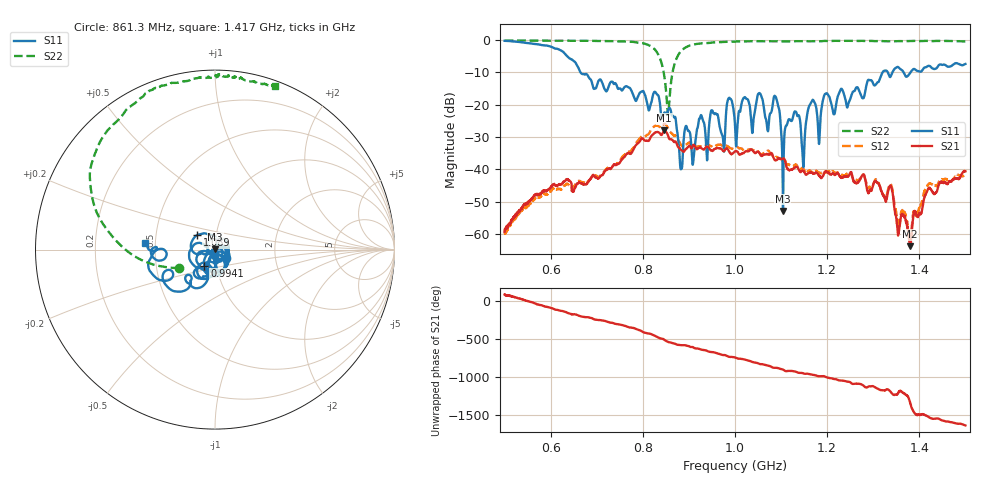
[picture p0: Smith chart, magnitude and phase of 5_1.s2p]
!Agilent Technologies,E8364B,US42250235,A.06.04.32
!Agilent E8364B: A.06.04.32
!Date: Thursday, October 01, 2020 14:24:02
!Correction: S11(Full 2 Port(1,2)) S21(Full 2 Port(1,2)) S12(Full 2 Port(1,2)) S22(Full 2 Port(1,2))
!S2P File: Measurements: S11, S21, S12, S22:
# Hz S  dB  R 50
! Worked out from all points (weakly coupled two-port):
!   2650 points, 500 MHz to 1.5 GHz, reference 50 ohm
!   highest |S21| = -27.98 dB at 846.5 MHz (marker M1); lowest = -63.8 dB at 1.379 GHz (marker M2)
!   lowest |S11| = -52.9 dB at 1.104 GHz (marker M3), VSWR 1.00, Z = 50 + j0.223 ohm
!   |S11| at or under -10 dB: 664.7 MHz to 1.32 GHz (655.6 MHz wide, 66.1 % of centre); 1.332 GHz to 1.342 GHz (9.906 MHz wide, 0.741 % of centre); 1.366 GHz to 1.381 GHz (15.02 MHz wide, 1.09 % of centre)
!   |S22| runs from -23.1 to -0.1 dB; largest |S21 - S12| = 0.013
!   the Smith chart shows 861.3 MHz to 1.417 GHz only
!   S11 on the Smith chart (normalised r, x): 861.3 MHz: 1.12, -0.11; 994.1 MHz: 0.88, -0.16; 1.089 GHz: 0.81, +0.13; 1.417 GHz: 0.44, +0.04
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5e8  -0.23 -175.4  -59.31 82.1  -59.98 75.2  -0.12 138.3
6.000378e8  -2.00 119.9  -45.68 -92.7  -46.87 -99.1  -0.21 126.8
6.668554e8  -10.37 70.3  -44.40 152.5  -43.95 152.5  -0.20 120.6
8.337108e8  -17.20 -11.4  -28.51 -125.0  -26.62 -114.0  -4.54 54.5
8.465459e8  -22.45 -4.8  -27.98 -153.8  -25.88 -145.1  -11.13 24.1
8.612684e8  -22.27 -38.9  -30.73 169.0  -28.67 173.7  -12.99 -152.4
8.82786e8  -39.98 -37.2  -33.98 135.1  -32.42 137.8  -3.42 164.0
8.944885e8  -26.66 -36.7  -33.60 131.1  -32.27 134.2  -2.14 152.7
9.737637e8  -30.26 -87.6  -34.27 5.3  -32.93 15.5  -0.59 117.2
9.941487e8  -19.46 -123.4  -35.16 -19.9  -33.65 -12.9  -0.47 114.6
1.000189e9  -26.69 -148.3  -34.44 -27.4  -33.44 -18.6  -0.42 114.1
1.089279e9  -17.92 140.2  -37.19 -162.7  -36.20 -153.6  -0.38 105.1
1.104002e9  -52.89 79.4  -36.72 173.6  -36.27 -176.1  -0.42 102.8
1.131182e9  -22.14 20.6  -39.30 147.1  -38.54 152.3  -0.35 97.9
1.148547e9  -39.36 148.4  -40.54 122.3  -39.83 128.4  -0.32 95.0
1.166667e9  -18.90 -59.9  -41.09 107.4  -40.80 113.1  -0.35 92.4
1.182522e9  -32.17 -78.5  -41.96 85.9  -41.11 96.2  -0.38 91.3
1.196867e9  -16.60 -90.4  -40.78 76.6  -40.94 81.0  -0.25 89.7
1.333522e9  -10.64 -156.9  -46.03 -94.9  -45.48 -88.5  -0.36 77.4
1.3792e9  -10.37 -168.7  -63.80 122.2  -61.78 120.6  -0.31 70.7
1.41695e9  -8.18 174.3  -46.72 -79.3  -45.44 -76.5  -0.24 70.0
1.5e9  -7.40 141.2  -40.60 157.1  -41.17 163.9  -0.39 62.4
